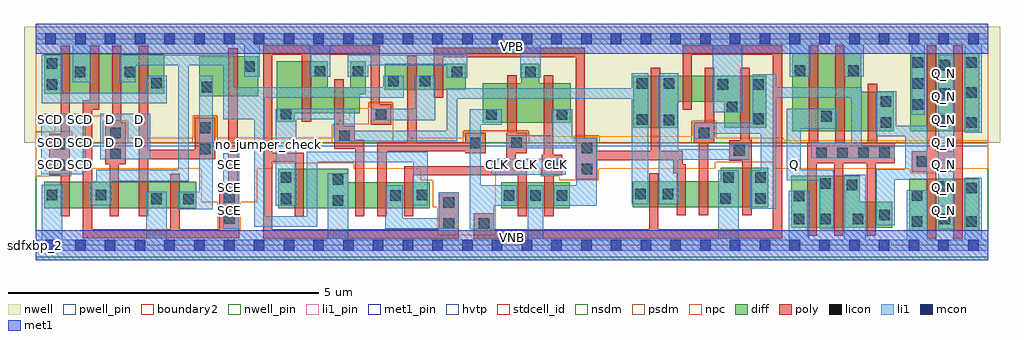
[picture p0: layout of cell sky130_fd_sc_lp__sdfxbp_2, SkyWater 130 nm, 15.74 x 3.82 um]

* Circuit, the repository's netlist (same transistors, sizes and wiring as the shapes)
* Copyright 2020 The SkyWater PDK Authors
*
* Licensed under the Apache License, Version 2.0 (the "License");
* you may not use this file except in compliance with the License.
* You may obtain a copy of the License at
*
*     https://www.apache.org/licenses/LICENSE-2.0
*
* Unless required by applicable law or agreed to in writing, software
* distributed under the License is distributed on an "AS IS" BASIS,
* WITHOUT WARRANTIES OR CONDITIONS OF ANY KIND, either express or implied.
* See the License for the specific language governing permissions and
* limitations under the License.
*
* SPDX-License-Identifier: Apache-2.0

.SUBCKT sky130_fd_sc_lp__sdfxbp_2 CLK D SCD SCE VGND VNB VPB VPWR Q Q_N
*.PININFO CLK:I D:I SCD:I SCE:I VGND:I VNB:I VPB:I VPWR:I Q:O Q_N:O
MI652 M1 clkpos S0 VNB sky130_fd_pr__nfet_01v8 m=1 w=0.42U l=0.15U mult=1 sa=0.265
+ sb=0.265 sd=0.28 area=0.063 perim=1.14
MI649 S1 S0 VGND VNB sky130_fd_pr__nfet_01v8 m=1 w=0.64U l=0.15U mult=1 sa=0.265
+ sb=0.265 sd=0.28 area=0.063 perim=1.14
MI634 M1 M0 VGND VNB sky130_fd_pr__nfet_01v8 m=1 w=0.64U l=0.15U mult=1 sa=0.265
+ sb=0.265 sd=0.28 area=0.063 perim=1.14
MI636 clkpos clkneg VGND VNB sky130_fd_pr__nfet_01v8 m=1 w=0.42U l=0.15U mult=1
+ sa=0.265 sb=0.265 sd=0.28 area=0.063 perim=1.14
MI639 sceb SCE VGND VNB sky130_fd_pr__nfet_01v8 m=1 w=0.42U l=0.15U mult=1 sa=0.265
+ sb=0.265 sd=0.28 area=0.063 perim=1.14
MI657 M0 clkpos net155 VNB sky130_fd_pr__nfet_01v8 m=1 w=0.42U l=0.15U mult=1 sa=0.265
+ sb=0.265 sd=0.28 area=0.063 perim=1.14
MI656 net155 M1 VGND VNB sky130_fd_pr__nfet_01v8 m=1 w=0.42U l=0.15U mult=1 sa=0.265
+ sb=0.265 sd=0.28 area=0.063 perim=1.14
MI641 net151 S1 VGND VNB sky130_fd_pr__nfet_01v8 m=1 w=0.42U l=0.15U mult=1 sa=0.265
+ sb=0.265 sd=0.28 area=0.063 perim=1.14
MI646 Q S1 VGND VNB sky130_fd_pr__nfet_01v8 m=2 w=0.84U l=0.15U mult=1 sa=0.265
+ sb=0.265 sd=0.28 area=0.063 perim=1.14
MI661 Q_N net203 VGND VNB sky130_fd_pr__nfet_01v8 m=2 w=0.84U l=0.15U mult=1 sa=0.265
+ sb=0.265 sd=0.28 area=0.063 perim=1.14
MI662 net203 S1 VGND VNB sky130_fd_pr__nfet_01v8 m=1 w=0.42U l=0.15U mult=1 sa=0.265
+ sb=0.265 sd=0.28 area=0.063 perim=1.14
MI648 db clkneg M0 VNB sky130_fd_pr__nfet_01v8 m=1 w=0.42U l=0.15U mult=1 sa=0.265
+ sb=0.265 sd=0.28 area=0.063 perim=1.14
MI635 clkneg CLK VGND VNB sky130_fd_pr__nfet_01v8 m=1 w=0.42U l=0.15U mult=1 sa=0.265
+ sb=0.265 sd=0.28 area=0.063 perim=1.14
MI642 S0 clkneg net151 VNB sky130_fd_pr__nfet_01v8 m=1 w=0.42U l=0.15U mult=1 sa=0.265
+ sb=0.265 sd=0.28 area=0.063 perim=1.14
MI98 db D n0 VNB sky130_fd_pr__nfet_01v8 m=1 w=0.42U l=0.15U mult=1 sa=0.265 sb=0.265
+ sd=0.28 area=0.525 perim=3.1
MI103 n1 SCD VGND VNB sky130_fd_pr__nfet_01v8 m=1 w=0.42U l=0.15U mult=1 sa=0.265
+ sb=0.265 sd=0.28 area=0.525 perim=3.1
MI120 db SCE n1 VNB sky130_fd_pr__nfet_01v8 m=1 w=0.42U l=0.15U mult=1 sa=0.265
+ sb=0.265 sd=0.28 area=0.525 perim=3.1
MI104 n0 sceb VGND VNB sky130_fd_pr__nfet_01v8 m=1 w=0.42U l=0.15U mult=1 sa=0.265
+ sb=0.265 sd=0.28 area=0.525 perim=3.1
MI643 net206 S1 VPWR VPB sky130_fd_pr__pfet_01v8_hvt m=1 w=0.42U l=0.15U mult=1
+ sa=0.265 sb=0.265 sd=0.28 area=0.063 perim=1.14
MI640 sceb SCE VPWR VPB sky130_fd_pr__pfet_01v8_hvt m=1 w=0.64U l=0.15U mult=1
+ sa=0.265 sb=0.265 sd=0.28 area=0.063 perim=1.14
MI658 net243 M1 VPWR VPB sky130_fd_pr__pfet_01v8_hvt m=1 w=0.42U l=0.15U mult=1
+ sa=0.265 sb=0.265 sd=0.28 area=0.063 perim=1.14
MI645 Q S1 VPWR VPB sky130_fd_pr__pfet_01v8_hvt m=2 w=1.26U l=0.15U mult=1 sa=0.265
+ sb=0.265 sd=0.28 area=0.063 perim=1.14
MI651 db clkpos M0 VPB sky130_fd_pr__pfet_01v8_hvt m=1 w=0.42U l=0.15U mult=1 sa=0.265
+ sb=0.265 sd=0.28 area=0.063 perim=1.14
MI653 M1 clkneg S0 VPB sky130_fd_pr__pfet_01v8_hvt m=1 w=0.84U l=0.15U mult=1 sa=0.265
+ sb=0.265 sd=0.28 area=0.063 perim=1.14
MI659 M0 clkneg net243 VPB sky130_fd_pr__pfet_01v8_hvt m=1 w=0.42U l=0.15U mult=1
+ sa=0.265 sb=0.265 sd=0.28 area=0.063 perim=1.14
MI660 Q_N net203 VPWR VPB sky130_fd_pr__pfet_01v8_hvt m=2 w=1.26U l=0.15U mult=1
+ sa=0.265 sb=0.265 sd=0.28 area=0.063 perim=1.14
MI638 clkneg CLK VPWR VPB sky130_fd_pr__pfet_01v8_hvt m=1 w=0.64U l=0.15U mult=1
+ sa=0.265 sb=0.265 sd=0.28 area=0.063 perim=1.14
MI637 clkpos clkneg VPWR VPB sky130_fd_pr__pfet_01v8_hvt m=1 w=0.64U l=0.15U mult=1
+ sa=0.265 sb=0.265 sd=0.28 area=0.063 perim=1.14
MI650 S1 S0 VPWR VPB sky130_fd_pr__pfet_01v8_hvt m=1 w=0.84U l=0.15U mult=1 sa=0.265
+ sb=0.265 sd=0.28 area=0.063 perim=1.14
MI644 S0 clkpos net206 VPB sky130_fd_pr__pfet_01v8_hvt m=1 w=0.42U l=0.15U mult=1
+ sa=0.265 sb=0.265 sd=0.28 area=0.063 perim=1.14
MI647 net203 S1 VPWR VPB sky130_fd_pr__pfet_01v8_hvt m=1 w=0.64U l=0.15U mult=1
+ sa=0.265 sb=0.265 sd=0.28 area=0.063 perim=1.14
MI664 M1 M0 VPWR VPB sky130_fd_pr__pfet_01v8_hvt m=1 w=0.84U l=0.15U mult=1 sa=0.265
+ sb=0.265 sd=0.28 area=0.063 perim=1.14
MI107 p0 SCE VPWR VPB sky130_fd_pr__pfet_01v8_hvt m=1 w=0.64U l=0.15U mult=1 sa=0.265
+ sb=0.265 sd=0.28 area=0.063 perim=1.14
MI94 db D p0 VPB sky130_fd_pr__pfet_01v8_hvt m=1 w=0.64U l=0.15U mult=1 sa=0.265
+ sb=0.265 sd=0.28 area=0.063 perim=1.14
MI108 p1 SCD VPWR VPB sky130_fd_pr__pfet_01v8_hvt m=1 w=0.64U l=0.15U mult=1 sa=0.265
+ sb=0.265 sd=0.28 area=0.063 perim=1.14
MI101 db sceb p1 VPB sky130_fd_pr__pfet_01v8_hvt m=1 w=0.64U l=0.15U mult=1 sa=0.265
+ sb=0.265 sd=0.28 area=0.063 perim=1.14
.ENDS sky130_fd_sc_lp__sdfxbp_2

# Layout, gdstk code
import gdstk
lib = gdstk.Library(unit=1e-6, precision=1e-09)
def R(c, l, rs):  # rectangles x0, y0, x1, y1
    for r in rs: c.add(gdstk.rectangle(r[:2], r[2:], *l))
def A(c, l, x, y, w, h, nx, ny, dx, dy):  # array of equal rectangles
    R(c, l, [(x+i*dx, y+j*dy, x+i*dx+w, y+j*dy+h) for i in range(nx) for j in range(ny)])
def P(c, l, *ps):  # polygons
    for p in ps: c.add(gdstk.Polygon(p, *l))
nwell_pin = (64, 16)
nwell = (64, 20)
diff = (65, 20)
poly = (66, 20)
licon = (66, 44)
li1_pin = (67, 16)
li1 = (67, 20)
mcon = (67, 44)
met1_pin = (68, 16)
met1 = (68, 20)
hvtp = (78, 44)
stdcell_id = (81, 4)
nsdm = (93, 44)
psdm = (94, 20)
npc = (95, 20)
pwell_pin = (122, 16)
boundary2 = (236, 0)

sky130_fd_sc_lp__sdfxbp_ = lib.new_cell('sky130_fd_sc_lp__sdfxbp_2')
R(sky130_fd_sc_lp__sdfxbp_, nwell_pin, [(0,3.085,15.36,3.33)])
R(sky130_fd_sc_lp__sdfxbp_, nwell, [(-0.19,1.655,15.55,3.52)])
R(sky130_fd_sc_lp__sdfxbp_, diff, [(14.085,0.235,15.215,1.075), (7.505,0.595,8.615,1.015), (0.135,0.6,2.585,1.02), (14.105,1.835,15.215,3.095), (2.64,2.405,3.59,3.045), (0.135,2.445,2.075,3.085), (5.625,2.505,6.935,2.925)])
P(sky130_fd_sc_lp__sdfxbp_, diff, [(5.325,2.965),(5.075,2.965),(5.075,2.545),(4.705,2.545),(4.705,2.965),(3.89,2.965),(3.89,1.995),(4.18,1.995),(4.18,2.125),(5.225,2.125),(5.225,2.435),(5.325,2.435)],
  [(6.355,1.015),(5.04,1.015),(5.04,1.235),(3.91,1.235),(3.91,0.595),(6.355,0.595)],
  [(8.63,2.615),(8.12,2.615),(8.12,2.925),(7.83,2.925),(7.83,2.615),(7.205,2.615),(7.205,1.975),(8.63,1.975)],
  [(11.81,1.25),(11.05,1.25),(11.05,1.03),(9.625,1.03),(9.625,0.61),(11.81,0.61)],
  [(11.78,2.735),(9.635,2.735),(9.635,1.895),(10.355,1.895),(10.355,2.315),(11.1,2.315),(11.1,1.895),(11.78,1.895)],
  [(13.815,0.7),(13.29,0.7),(13.29,1.12),(12.18,1.12),(12.18,0.28),(13.815,0.28)],
  [(13.835,2.475),(13.31,2.475),(13.31,3.095),(12.2,3.095),(12.2,1.835),(13.835,1.835)])
P(sky130_fd_sc_lp__sdfxbp_, poly, [(0.55,3.215),(0.4,3.215),(0.4,1.8),(0.22,1.8),(0.22,1.13),(0.4,1.13),(0.4,0.47),(0.55,0.47)],
  [(1.45,1.975),(1.38,1.975),(1.38,3.215),(1.23,3.215),(1.23,1.975),(1.12,1.975),(1.12,1.305),(1.19,1.305),(1.19,0.47),(1.34,0.47),(1.34,1.305),(1.45,1.305)],
  [(2.895,2.06),(2.565,2.06),(2.565,1.54),(1.81,1.54),(1.81,3.215),(1.66,3.215),(1.66,0.47),(1.81,0.47),(1.81,1.39),(2.895,1.39)],
  [(3.285,0.935),(3.255,0.935),(3.255,3.175),(3.105,3.175),(3.105,0.935),(2.955,0.935),(2.955,0.26),(2.32,0.26),(2.32,1.15),(2.17,1.15),(2.17,0.26),(0.91,0.26),(0.91,2.185),(1.02,2.185),(1.02,3.215),(0.87,3.215),(0.87,2.335),(0.76,2.335),(0.76,0.11),(3.285,0.11)],
  [(12.035,3.225),(10.43,3.225),(10.43,2.185),(10.58,2.185),(10.58,3.075),(11.885,3.075),(11.885,0.255),(10.04,0.255),(10.04,1.16),(9.89,1.16),(9.89,0.255),(7.395,0.255),(7.395,0.515),(7.065,0.515),(7.065,0.105),(12.035,0.105)],
  [(10.485,1.31),(10.43,1.31),(10.43,1.52),(10.07,1.52),(10.07,2.865),(9.92,2.865),(9.92,1.52),(9.055,1.52),(9.055,1.735),(8.855,1.735),(8.855,3.185),(6.42,3.185),(6.42,2.375),(6.57,2.375),(6.57,3.035),(8.705,3.035),(8.705,1.065),(9.055,1.065),(9.055,1.37),(10.28,1.37),(10.28,1.16),(10.335,1.16),(10.335,0.48),(10.485,0.48)],
  [(5.3,1.705),(5.145,1.705),(5.145,1.925),(4.965,1.925),(4.965,2.675),(4.815,2.675),(4.815,1.555),(5.15,1.555),(5.15,0.465),(5.3,0.465)],
  [(6.825,0.855),(6.495,0.855),(6.495,0.255),(3.815,0.255),(3.815,1.345),(4.175,1.345),(4.175,0.465),(4.325,0.465),(4.325,1.495),(3.815,1.495),(3.815,3.075),(4.29,3.075),(4.29,1.995),(4.44,1.995),(4.44,3.075),(5.4,3.075),(5.4,1.945),(5.73,1.945),(5.73,2.275),(5.55,2.275),(5.55,3.225),(3.665,3.225),(3.665,0.105),(6.825,0.105)],
  [(7.255,1.815),(6.925,1.815),(6.925,1.665),(6.14,1.665),(6.14,3.055),(5.99,3.055),(5.99,1.665),(5.51,1.665),(5.51,0.465),(5.66,0.465),(5.66,1.515),(6.925,1.515),(6.925,1.485),(7.255,1.485)],
  [(7.92,1.275),(7.74,1.275),(7.74,1.485),(7.92,1.485),(7.92,1.815),(7.755,1.815),(7.755,2.745),(7.605,2.745),(7.605,1.815),(7.59,1.815),(7.59,1.275),(5.94,1.275),(5.94,0.465),(6.09,0.465),(6.09,1.125),(7.77,1.125),(7.77,0.465),(7.92,0.465)],
  [(8.49,1.46),(8.345,1.46),(8.345,2.745),(8.195,2.745),(8.195,1.46),(8.16,1.46),(8.16,1.13),(8.2,1.13),(8.2,0.465),(8.35,0.465),(8.35,1.13),(8.49,1.13)],
  [(10.94,2.865),(10.79,2.865),(10.79,1.975),(10.61,1.975),(10.61,1.645),(10.695,1.645),(10.695,0.48),(10.845,0.48),(10.845,1.645),(10.94,1.645)],
  [(11.515,2.865),(11.365,2.865),(11.365,1.695),(11.18,1.695),(11.18,1.365),(11.395,1.365),(11.395,0.48),(11.545,0.48),(11.545,1.695),(11.515,1.695)],
  [(13.855,1.655),(13.57,1.655),(13.57,2.605),(13.42,2.605),(13.42,1.655),(13.045,1.655),(13.045,3.225),(12.895,3.225),(12.895,1.655),(12.615,1.655),(12.615,3.225),(12.465,3.225),(12.465,1.655),(12.445,1.655),(12.445,0.15),(12.595,0.15),(12.595,1.325),(12.875,1.325),(12.875,0.15),(13.025,0.15),(13.025,1.325),(13.4,1.325),(13.4,0.15),(13.55,0.15),(13.55,1.325),(13.855,1.325)],
  [(14.95,3.225),(14.8,3.225),(14.8,1.515),(14.52,1.515),(14.52,3.225),(14.37,3.225),(14.37,1.515),(14.125,1.515),(14.125,1.185),(14.37,1.185),(14.37,0.105),(14.52,0.105),(14.52,1.185),(14.8,1.185),(14.8,0.105),(14.95,0.105)])
A(sky130_fd_sc_lp__sdfxbp_, licon, 7.545, 0.72, 0.17, 0.17, 3, 1, 0.43, 0)
A(sky130_fd_sc_lp__sdfxbp_, licon, 12.585, 1.405, 0.17, 0.17, 4, 1, 0.34, 0)
A(sky130_fd_sc_lp__sdfxbp_, licon, 15.005, 1.895, 0.17, 0.17, 1, 3, 0, 0.485)
A(sky130_fd_sc_lp__sdfxbp_, licon, 14.145, 2.185, 0.17, 0.17, 1, 3, 0, 0.34)
R(sky130_fd_sc_lp__sdfxbp_, licon, [(6.575,0.265,6.745,0.435), (7.145,0.265,7.315,0.435), (14.125,0.295,14.295,0.465), (15.005,0.295,15.175,0.465), (14.575,0.335,14.745,0.505), (12.22,0.34,12.39,0.51), (12.65,0.34,12.82,0.51), (13.175,0.34,13.345,0.51), (3.035,0.345,3.205,0.515), (13.605,0.405,13.775,0.575), (6.575,0.605,6.745,0.775), (4.79,0.635,4.96,0.805), (2.375,0.66,2.545,0.83), (1.865,0.665,2.035,0.835), (3.95,0.665,4.12,0.835), (11.035,0.67,11.205,0.84), (11.6,0.67,11.77,0.84), (3.035,0.685,3.205,0.855), (12.22,0.71,12.39,0.88), (5.715,0.715,5.885,0.885), (14.125,0.715,14.295,0.885), (0.175,0.725,0.345,0.895), (0.965,0.725,1.135,0.895), (6.145,0.725,6.315,0.895), (9.665,0.74,9.835,0.91), (10.11,0.74,10.28,0.91), (15.005,0.84,15.175,1.01), (14.575,0.865,14.745,1.035), (13.08,0.89,13.25,1.06), (12.65,0.91,12.82,1.08), (4.79,0.975,4.96,1.145), (3.95,1.005,4.12,1.175), (11.09,1.01,11.26,1.18), (11.6,1.01,11.77,1.18), (8.805,1.145,8.975,1.315), (0.3,1.21,0.47,1.38), (8.24,1.21,8.41,1.38), (14.205,1.265,14.375,1.435), (1.2,1.385,1.37,1.555), (11.26,1.445,11.43,1.615), (2.645,1.47,2.815,1.64), (8.805,1.485,8.975,1.655), (0.3,1.55,0.47,1.72), (7.005,1.565,7.175,1.735), (7.67,1.565,7.84,1.735), (4.895,1.675,5.065,1.845), (1.2,1.725,1.37,1.895), (10.69,1.725,10.86,1.895), (2.645,1.81,2.815,1.98), (13.625,1.895,13.795,2.065), (14.575,1.93,14.745,2.1), (10.125,1.935,10.295,2.105), (9.695,1.945,9.865,2.115), (11.57,1.955,11.74,2.125), (12.67,1.995,12.84,2.165), (5.48,2.025,5.65,2.195), (7.265,2.025,7.435,2.195), (8.4,2.025,8.57,2.195), (3.95,2.035,4.12,2.205), (11.14,2.145,11.31,2.315), (13.625,2.235,13.795,2.405), (14.575,2.365,14.745,2.535), (2.68,2.465,2.85,2.635), (0.175,2.505,0.345,2.675), (10.995,2.505,11.165,2.675), (11.57,2.505,11.74,2.675), (9.695,2.525,9.865,2.695), (10.125,2.525,10.295,2.695), (1.865,2.53,2.035,2.7), (5.685,2.565,5.855,2.735), (6.195,2.565,6.365,2.735), (6.705,2.705,6.875,2.875), (7.89,2.705,8.06,2.875), (0.625,2.71,0.795,2.88), (1.435,2.71,1.605,2.88), (4.495,2.715,4.665,2.885), (5.115,2.715,5.285,2.885), (12.24,2.735,12.41,2.905), (13.1,2.735,13.27,2.905), (3.36,2.795,3.53,2.965), (14.575,2.825,14.745,2.995), (0.175,2.845,0.345,3.015)])
A(sky130_fd_sc_lp__sdfxbp_, li1_pin, 3.035, 0.47, 0.17, 0.17, 1, 3, 0, 0.37)
A(sky130_fd_sc_lp__sdfxbp_, li1_pin, 14.555, 0.47, 0.17, 0.17, 1, 7, 0, 0.37)
A(sky130_fd_sc_lp__sdfxbp_, li1_pin, 7.355, 1.21, 0.17, 0.17, 3, 1, 0.48, 0)
A(sky130_fd_sc_lp__sdfxbp_, li1_pin, 0.155, 1.58, 0.17, 0.17, 4, 2, 0.48, 0.37)
R(sky130_fd_sc_lp__sdfxbp_, li1_pin, [(0.155,1.21,0.325,1.38), (0.635,1.21,0.805,1.38), (12.155,1.21,12.325,1.38)])
R(sky130_fd_sc_lp__sdfxbp_, li1, [(14.555,0.255,14.815,3.075), (3.02,0.265,3.285,1.485), (7.345,1.14,8.55,1.395), (1.04,1.385,1.85,2.12)])
P(sky130_fd_sc_lp__sdfxbp_, li1, [(3.36,2.715),(3.36,3.245),(0.875,3.245),(0.875,2.63),(0.595,2.63),(0.595,3.245),(0,3.245),(0,3.415),(15.36,3.415),(15.36,3.245),(15.255,3.245),(15.255,1.815),(14.985,1.815),(14.985,3.245),(14.335,3.245),(14.335,2.105),(14.125,2.105),(14.125,3.245),(13.35,3.245),(13.35,2.715),(13.02,2.715),(13.02,3.245),(12.49,3.245),(12.49,2.715),(12.16,2.715),(12.16,3.245),(11.39,3.245),(11.39,2.145),(10.915,2.145),(10.915,3.245),(8.14,3.245),(8.14,2.705),(7.81,2.705),(7.81,3.245),(4.745,3.245),(4.745,2.715),(4.415,2.715),(4.415,3.245),(3.61,3.245),(3.61,2.715)],
  [(4.71,0.085),(4.71,1.165),(5.04,1.165),(5.04,0.085),(7.93,0.085),(7.93,0.97),(8.18,0.97),(8.18,0.085),(11.01,0.085),(11.01,1.21),(11.34,1.21),(11.34,0.085),(12.14,0.085),(12.14,0.88),(12.47,0.88),(12.47,0.085),(13.04,0.085),(13.04,1.14),(13.385,1.14),(13.385,0.085),(14.045,0.085),(14.045,0.885),(14.375,0.885),(14.375,0.085),(14.985,0.085),(14.985,1.09),(15.255,1.09),(15.255,0.085),(15.36,0.085),(15.36,-0.085),(0,-0.085),(0,0.085),(0.095,0.085),(0.095,0.975),(0.425,0.975),(0.425,0.085),(1.785,0.085),(1.785,0.86),(2.115,0.86),(2.115,0.085)],
  [(8.32,1.77),(8.32,2.195),(8.65,2.195),(8.65,1.735),(9.05,1.735),(9.05,0.64),(8.35,0.64),(8.35,0.97),(8.72,0.97),(8.72,1.565),(7.59,1.565),(7.59,1.77)],
  [(6.115,2.205),(6.115,2.735),(6.445,2.735),(6.445,2.015),(5.4,2.015),(5.4,2.205)],
  [(5.635,0.265),(5.635,0.965),(5.92,0.965),(5.92,0.435),(6.495,0.435),(6.495,0.855),(6.825,0.855),(6.825,0.265)],
  [(6.325,1.505),(4.37,1.505),(4.37,0.465),(3.69,0.465),(3.69,2.375),(5.935,2.375),(5.935,2.735),(5.605,2.735),(5.605,2.545),(3.19,2.545),(3.19,3.075),(1.355,3.075),(1.355,2.63),(1.615,2.63),(1.615,2.905),(2.295,2.905),(2.295,1.215),(0.975,1.215),(0.975,1.03),(0.885,1.03),(0.885,0.645),(1.215,0.645),(1.215,1.03),(2.465,1.03),(2.465,2.905),(3.02,2.905),(3.02,2.035),(3.52,2.035),(3.52,0.295),(4.54,0.295),(4.54,1.335),(6.09,1.335),(6.09,0.645),(6.325,0.645)],
  [(6.995,2.195),(7.515,2.195),(7.515,1.94),(7.175,1.94),(7.175,0.97),(7.76,0.97),(7.76,0.64),(7.395,0.64),(7.395,0.255),(6.995,0.255)],
  [(0.805,2.12),(0.085,2.12),(0.085,1.145),(0.755,1.145),(0.755,1.185),(0.805,1.185)],
  [(13.875,1.925),(14.375,1.925),(14.375,1.055),(13.855,1.055),(13.855,0.325),(13.555,0.325),(13.555,1.225),(14.025,1.225),(14.025,1.755),(13.545,1.755),(13.545,2.485),(13.875,2.485)],
  [(12.335,1.875),(12.335,1.22),(12.87,1.22),(12.87,0.26),(12.64,0.26),(12.64,1.05),(12.11,1.05),(12.11,2.205),(12.92,2.205),(12.92,1.875)],
  [(10.36,1.55),(11.18,1.55),(11.18,1.625),(11.51,1.625),(11.51,1.38),(10.36,1.38),(10.36,0.66),(10.045,0.66),(10.045,2.775),(10.36,2.775)],
  [(2.635,0.86),(2.635,2.735),(2.85,2.735),(2.85,0.58),(2.295,0.58),(2.295,0.86)],
  [(0.425,2.46),(1.785,2.46),(1.785,2.735),(2.115,2.735),(2.115,2.29),(0.095,2.29),(0.095,3.075),(0.425,3.075)],
  [(9.875,2.775),(9.615,2.775),(9.615,2.535),(6.625,2.535),(6.625,1.845),(5.145,1.845),(5.145,2.205),(3.87,2.205),(3.87,0.635),(4.2,0.635),(4.2,2.035),(4.815,2.035),(4.815,1.675),(6.795,1.675),(6.795,2.365),(9.615,2.365),(9.615,0.66),(9.875,0.66)],
  [(6.625,2.705),(6.625,2.905),(5.365,2.905),(5.365,2.715),(5.035,2.715),(5.035,3.075),(6.955,3.075),(6.955,2.705)],
  [(13.855,1.585),(13.32,1.585),(13.32,2.545),(11.94,2.545),(11.94,2.755),(11.56,2.755),(11.56,1.975),(10.61,1.975),(10.61,1.72),(10.94,1.72),(10.94,1.795),(11.69,1.795),(11.69,1.21),(11.52,1.21),(11.52,0.59),(11.94,0.59),(11.94,2.375),(13.15,2.375),(13.15,1.655),(12.505,1.655),(12.505,1.405),(13.855,1.405)])
A(sky130_fd_sc_lp__sdfxbp_, mcon, 0.155, -0.085, 0.17, 0.17, 32, 2, 0.48, 3.33)
R(sky130_fd_sc_lp__sdfxbp_, met1_pin, [(0,0,15.36,0.245), (0,3.085,15.36,3.33)])
R(sky130_fd_sc_lp__sdfxbp_, met1, [(0,-0.245,15.36,0.245), (0,3.085,15.36,3.575)])
R(sky130_fd_sc_lp__sdfxbp_, hvtp, [(0,1.6,15.36,3.33)])
R(sky130_fd_sc_lp__sdfxbp_, stdcell_id, [(0,0,15.36,3.33)])
R(sky130_fd_sc_lp__sdfxbp_, nsdm, [(0,-0.19,15.36,1.655)])
P(sky130_fd_sc_lp__sdfxbp_, psdm, [(15.36,3.52),(0,3.52),(0,1.83),(0.58,1.83),(0.58,1.655),(1.09,1.655),(1.09,2.005),(1.48,2.005),(1.48,1.655),(2.535,1.655),(2.535,2.09),(2.925,2.09),(2.925,1.655),(4.785,1.655),(4.785,1.955),(5.37,1.955),(5.37,2.305),(5.76,2.305),(5.76,1.655),(6.895,1.655),(6.895,1.845),(7.95,1.845),(7.95,1.655),(8.695,1.655),(8.695,1.765),(9.085,1.765),(9.085,1.655),(10.58,1.655),(10.58,2.005),(10.97,2.005),(10.97,1.725),(11.54,1.725),(11.54,1.655),(12.475,1.655),(12.475,1.685),(13.885,1.685),(13.885,1.655),(15.36,1.655)])
P(sky130_fd_sc_lp__sdfxbp_, npc, [(15.36,1.695),(12.06,1.695),(12.06,1.73),(10.96,1.73),(10.96,1.995),(10.59,1.995),(10.59,1.755),(7.94,1.755),(7.94,1.835),(6.905,1.835),(6.905,1.73),(6.015,1.73),(6.015,2.19),(5.75,2.19),(5.75,2.295),(5.38,2.295),(5.38,2.21),(5.055,2.21),(5.055,2.035),(4.9,2.035),(4.9,1.945),(4.795,1.945),(4.795,1.73),(2.915,1.73),(2.915,2.08),(2.545,2.08),(2.545,1.73),(1.47,1.73),(1.47,1.995),(1.365,1.995),(1.365,2.085),(0.305,2.085),(0.305,1.82),(0,1.82),(0,1.11),(0.57,1.11),(0.57,1.23),(2.67,1.23),(2.67,0.69),(2.935,0.69),(2.935,0.225),(3.305,0.225),(3.305,0.69),(3.57,0.69),(3.57,1.23),(3.82,1.23),(3.82,1.325),(5.13,1.325),(5.13,1.23),(6.21,1.23),(6.21,1.045),(6.405,1.045),(6.405,0.61),(6.475,0.61),(6.475,0.165),(7.415,0.165),(7.415,1.23),(8.14,1.23),(8.14,1.11),(8.44,1.11),(8.44,1.045),(9.075,1.045),(9.075,1.23),(10.96,1.23),(10.96,1.34),(11.9,1.34),(11.9,1.23),(14.105,1.23),(14.105,1.165),(14.475,1.165),(14.475,1.23),(15.36,1.23)])
R(sky130_fd_sc_lp__sdfxbp_, pwell_pin, [(0,0,15.36,0.245)])
R(sky130_fd_sc_lp__sdfxbp_, boundary2, [(0,0,15.36,3.33)])
sky130_fd_sc_lp__sdfxbp_.add(gdstk.Label('VNB', (7.68,0.123), layer=64, texttype=59))
sky130_fd_sc_lp__sdfxbp_.add(gdstk.Label('VPB', (7.68,3.208), layer=64, texttype=5))
sky130_fd_sc_lp__sdfxbp_.add(gdstk.Label('sdfxbp_2', (0,0), layer=83, texttype=44))
sky130_fd_sc_lp__sdfxbp_.add(gdstk.Label('no_jumper_check', (3.755,1.625), layer=83, texttype=44))
sky130_fd_sc_lp__sdfxbp_.add(gdstk.Label('VPWR', (7.68,3.208), layer=68, texttype=5))
sky130_fd_sc_lp__sdfxbp_.add(gdstk.Label('VGND', (7.68,0.123), layer=68, texttype=5))
sky130_fd_sc_lp__sdfxbp_.add(gdstk.Label('CLK', (7.44,1.295), layer=67, texttype=5))
sky130_fd_sc_lp__sdfxbp_.add(gdstk.Label('CLK', (7.92,1.295), layer=67, texttype=5))
sky130_fd_sc_lp__sdfxbp_.add(gdstk.Label('CLK', (8.4,1.295), layer=67, texttype=5))
sky130_fd_sc_lp__sdfxbp_.add(gdstk.Label('SCE', (3.12,0.555), layer=67, texttype=5))
sky130_fd_sc_lp__sdfxbp_.add(gdstk.Label('SCE', (3.12,0.925), layer=67, texttype=5))
sky130_fd_sc_lp__sdfxbp_.add(gdstk.Label('SCE', (3.12,1.295), layer=67, texttype=5))
sky130_fd_sc_lp__sdfxbp_.add(gdstk.Label('SCD', (0.24,1.295), layer=67, texttype=5))
sky130_fd_sc_lp__sdfxbp_.add(gdstk.Label('SCD', (0.24,1.665), layer=67, texttype=5))
sky130_fd_sc_lp__sdfxbp_.add(gdstk.Label('SCD', (0.24,2.035), layer=67, texttype=5))
sky130_fd_sc_lp__sdfxbp_.add(gdstk.Label('SCD', (0.72,1.295), layer=67, texttype=5))
sky130_fd_sc_lp__sdfxbp_.add(gdstk.Label('SCD', (0.72,1.665), layer=67, texttype=5))
sky130_fd_sc_lp__sdfxbp_.add(gdstk.Label('SCD', (0.72,2.035), layer=67, texttype=5))
sky130_fd_sc_lp__sdfxbp_.add(gdstk.Label('D', (1.2,1.665), layer=67, texttype=5))
sky130_fd_sc_lp__sdfxbp_.add(gdstk.Label('D', (1.2,2.035), layer=67, texttype=5))
sky130_fd_sc_lp__sdfxbp_.add(gdstk.Label('Q_N', (14.64,0.555), layer=67, texttype=5))
sky130_fd_sc_lp__sdfxbp_.add(gdstk.Label('Q_N', (14.64,0.925), layer=67, texttype=5))
sky130_fd_sc_lp__sdfxbp_.add(gdstk.Label('Q_N', (14.64,1.295), layer=67, texttype=5))
sky130_fd_sc_lp__sdfxbp_.add(gdstk.Label('Q_N', (14.64,1.665), layer=67, texttype=5))
sky130_fd_sc_lp__sdfxbp_.add(gdstk.Label('Q_N', (14.64,2.035), layer=67, texttype=5))
sky130_fd_sc_lp__sdfxbp_.add(gdstk.Label('Q_N', (14.64,2.405), layer=67, texttype=5))
sky130_fd_sc_lp__sdfxbp_.add(gdstk.Label('Q_N', (14.64,2.775), layer=67, texttype=5))
sky130_fd_sc_lp__sdfxbp_.add(gdstk.Label('Q', (12.24,1.295), layer=67, texttype=5))
sky130_fd_sc_lp__sdfxbp_.add(gdstk.Label('D', (1.68,1.665), layer=67, texttype=5))
sky130_fd_sc_lp__sdfxbp_.add(gdstk.Label('D', (1.68,2.035), layer=67, texttype=5))

lib.write_gds('sky130_fd_sc_lp__sdfxbp_2.gds')
